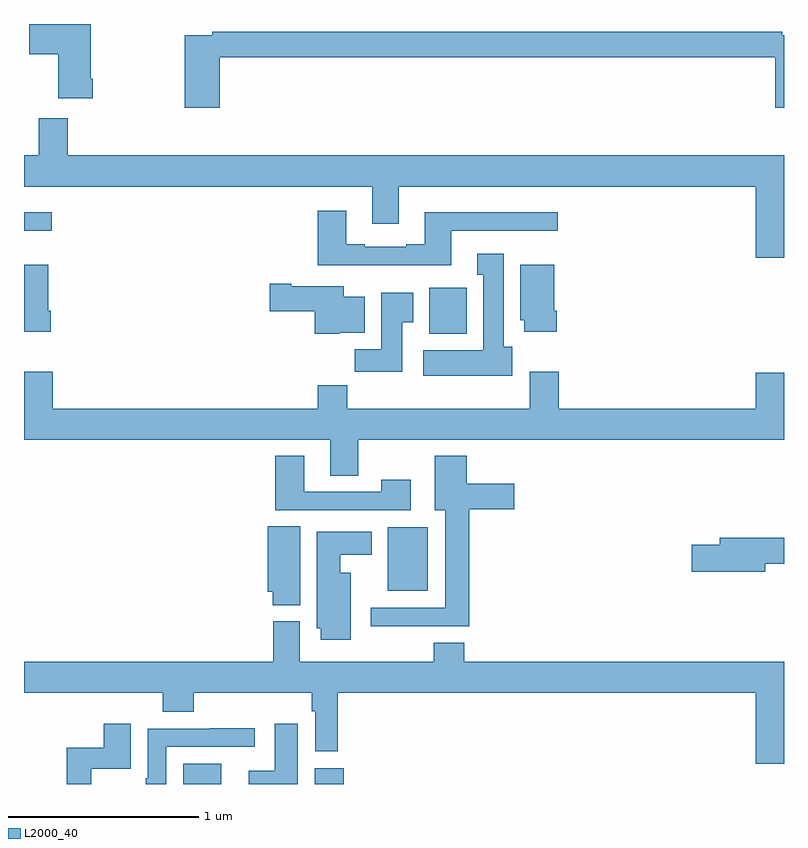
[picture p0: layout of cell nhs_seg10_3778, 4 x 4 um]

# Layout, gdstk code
import gdstk
lib = gdstk.Library(unit=1e-6, precision=1e-09)
def R(c, l, rs):  # rectangles x0, y0, x1, y1
    for r in rs: c.add(gdstk.rectangle(r[:2], r[2:], *l))
def P(c, l, *ps):  # polygons
    for p in ps: c.add(gdstk.Polygon(p, *l))
L2000_40 = (2000, 40)

nhs_seg10_3778 = lib.new_cell('nhs_seg10_3778')
R(nhs_seg10_3778, L2000_40, [(317.837,1302.5,318.037,1302.607), (318.53,1302.5,318.683,1302.583), (318.914,1303.517,319.126,1303.852), (319.133,1304.87,319.33,1305.112), (317,1305.411,317.146,1305.508)])
P(nhs_seg10_3778, L2000_40, [(317.363,1306.213),(317.35,1306.213),(317.35,1306.5),(317.028,1306.5),(317.028,1306.342),(317.18,1306.342),(317.18,1306.109),(317.363,1306.109)],
  [(318.029,1306.324),(320.954,1306.324),(320.954,1306.059),(321,1306.059),(321,1306.44),(320.99,1306.44),(320.99,1306.46),(317.992,1306.46),(317.992,1306.44),(317.846,1306.44),(317.846,1306.059),(318.029,1306.059)],
  [(321,1305.808),(317.231,1305.808),(317.231,1306.003),(317.078,1306.003),(317.078,1305.808),(317,1305.808),(317,1305.644),(318.833,1305.644),(318.833,1305.45),(318.973,1305.45),(318.973,1305.644),(320.852,1305.644),(320.852,1305.27),(321,1305.27)],
  [(319.249,1305.411),(319.81,1305.411),(319.81,1305.508),(319.109,1305.508),(319.109,1305.34),(319.013,1305.34),(319.013,1305.327),(318.793,1305.327),(318.793,1305.34),(318.697,1305.34),(318.697,1305.517),(318.545,1305.517),(318.545,1305.23),(319.249,1305.23)],
  [(319.57,1304.802),(319.525,1304.802),(319.525,1305.292),(319.385,1305.292),(319.385,1305.179),(319.418,1305.179),(319.418,1304.782),(319.101,1304.782),(319.101,1304.648),(319.57,1304.648)],
  [(319.805,1304.992),(319.792,1304.992),(319.792,1305.232),(319.613,1305.232),(319.613,1304.94),(319.634,1304.94),(319.634,1304.88),(319.805,1304.88)],
  [(317.141,1304.992),(317.128,1304.992),(317.128,1305.232),(317,1305.232),(317,1304.88),(317.141,1304.88)],
  [(318.66,1304.876),(318.793,1304.876),(318.793,1305.064),(318.682,1305.064),(318.682,1305.121),(318.406,1305.121),(318.406,1305.134),(318.294,1305.134),(318.294,1304.987),(318.53,1304.987),(318.53,1304.87),(318.66,1304.87)],
  [(318.991,1304.929),(319.048,1304.929),(319.048,1305.085),(318.881,1305.085),(318.881,1304.788),(318.742,1304.788),(318.742,1304.67),(318.991,1304.67)],
  [(318.759,1304.312),(321,1304.312),(321,1304.665),(320.852,1304.665),(320.852,1304.476),(319.814,1304.476),(319.814,1304.671),(319.661,1304.671),(319.661,1304.476),(318.701,1304.476),(318.701,1304.6),(318.545,1304.6),(318.545,1304.476),(317.15,1304.476),(317.15,1304.671),(317,1304.671),(317,1304.312),(318.611,1304.312),(318.611,1304.122),(318.759,1304.122)],
  [(319.036,1304.101),(318.88,1304.101),(318.88,1304.037),(318.475,1304.037),(318.475,1304.227),(318.323,1304.227),(318.323,1303.941),(319.036,1303.941)],
  [(319.343,1303.946),(319.579,1303.946),(319.579,1304.08),(319.33,1304.08),(319.33,1304.227),(319.163,1304.227),(319.163,1303.94),(319.217,1303.94),(319.217,1303.428),(318.825,1303.428),(318.825,1303.331),(319.343,1303.331)],
  [(318.454,1303.856),(318.284,1303.856),(318.284,1303.512),(318.308,1303.512),(318.308,1303.441),(318.454,1303.441)],
  [(318.721,1303.612),(318.664,1303.612),(318.664,1303.706),(318.829,1303.706),(318.829,1303.828),(318.542,1303.828),(318.542,1303.32),(318.563,1303.32),(318.563,1303.26),(318.721,1303.26)],
  [(320.902,1303.66),(321,1303.66),(321,1303.796),(320.663,1303.796),(320.663,1303.76),(320.514,1303.76),(320.514,1303.618),(320.902,1303.618)],
  [(321,1303.144),(319.316,1303.144),(319.316,1303.243),(319.156,1303.243),(319.156,1303.144),(318.451,1303.144),(318.451,1303.356),(318.311,1303.356),(318.311,1303.144),(317,1303.144),(317,1302.98),(317.729,1302.98),(317.729,1302.881),(317.894,1302.881),(317.894,1302.98),(318.514,1302.98),(318.514,1302.884),(318.534,1302.884),(318.534,1302.672),(318.65,1302.672),(318.65,1302.98),(320.852,1302.98),(320.852,1302.606),(321,1302.606)],
  [(317.353,1302.581),(317.563,1302.581),(317.563,1302.817),(317.42,1302.817),(317.42,1302.691),(317.224,1302.691),(317.224,1302.5),(317.353,1302.5)],
  [(318.442,1302.817),(318.32,1302.817),(318.32,1302.57),(318.182,1302.57),(318.182,1302.5),(318.442,1302.5)],
  [(317.748,1302.696),(318.214,1302.696),(318.214,1302.794),(317.977,1302.794),(317.977,1302.792),(317.652,1302.792),(317.652,1302.529),(317.64,1302.529),(317.64,1302.5),(317.748,1302.5)])

lib.write_gds('nhs_seg10_3778.gds')
